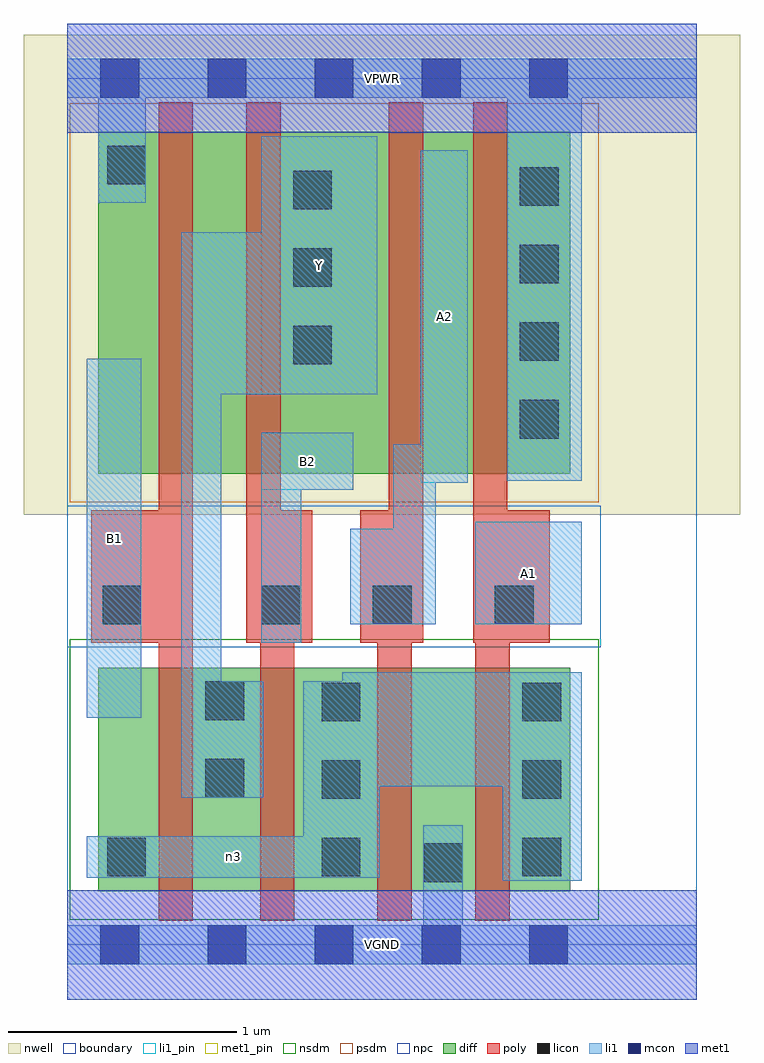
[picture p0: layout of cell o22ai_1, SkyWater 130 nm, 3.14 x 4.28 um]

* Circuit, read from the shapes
.subckt o22ai_1 A1 A2 B1 B2 VGND VPWR Y n3
XM1 Y B1 n3 VSUBS sky130_fd_pr__nfet_01v8 w=0.98 l=0.15
XM2 n3 B2 Y VSUBS sky130_fd_pr__nfet_01v8 w=0.98 l=0.15
XM3 VGND A2 n3 VSUBS sky130_fd_pr__nfet_01v8 w=0.98 l=0.15
XM4 n3 A1 VGND VSUBS sky130_fd_pr__nfet_01v8 w=0.98 l=0.15
XM5 n1 B1 VPWR n2 sky130_fd_pr__pfet_01v8 w=1.5 l=0.15
XM6 Y B2 n1 n2 sky130_fd_pr__pfet_01v8 w=1.5 l=0.15
XM7 n4 A2 Y n2 sky130_fd_pr__pfet_01v8 w=1.5 l=0.15
XM8 VPWR A1 n4 n2 sky130_fd_pr__pfet_01v8 w=1.5 l=0.15
.ends

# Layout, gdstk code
import gdstk
lib = gdstk.Library(unit=1e-6, precision=1e-09)
def R(c, l, rs):  # rectangles x0, y0, x1, y1
    for r in rs: c.add(gdstk.rectangle(r[:2], r[2:], *l))
def A(c, l, x, y, w, h, nx, ny, dx, dy):  # array of equal rectangles
    R(c, l, [(x+i*dx, y+j*dy, x+i*dx+w, y+j*dy+h) for i in range(nx) for j in range(ny)])
nwell = (64, 20)
diff = (65, 20)
poly = (66, 20)
licon = (66, 44)
li1_pin = (67, 16)
li1 = (67, 20)
mcon = (67, 44)
met1_pin = (68, 16)
met1 = (68, 20)
nsdm = (93, 44)
psdm = (94, 20)
npc = (95, 20)
boundary = (235, 4)

o22ai_1 = lib.new_cell('o22ai_1')
R(o22ai_1, nwell, [(-0.19,1.885,2.95,3.99), (0,1.885,2.76,3.99)])
R(o22ai_1, diff, [(0.135,0.235,2.205,1.215), (0.135,2.065,2.205,3.565)])
R(o22ai_1, poly, [(0.4,0.105,0.55,3.695), (0.845,0.105,0.995,1.905), (1.36,0.105,1.51,1.905), (1.79,0.105,1.94,1.905), (0.105,1.325,0.55,1.905), (0.785,1.325,0.935,3.695), (0.785,1.325,1.075,1.905), (1.285,1.325,1.56,1.905), (1.41,1.325,1.56,3.695), (1.78,1.325,1.93,3.695), (1.78,1.325,2.115,1.905)])
A(o22ai_1, licon, 1.115, 0.3, 0.17, 0.17, 1, 3, 0, 0.34)
A(o22ai_1, licon, 1.995, 0.3, 0.17, 0.17, 1, 3, 0, 0.34)
A(o22ai_1, licon, 1.985, 2.22, 0.17, 0.17, 1, 4, 0, 0.34)
A(o22ai_1, licon, 0.99, 2.545, 0.17, 0.17, 1, 3, 0, 0.34)
R(o22ai_1, licon, [(1.565,0.275,1.735,0.445), (0.175,0.3,0.345,0.47), (0.605,0.645,0.775,0.815), (0.605,0.985,0.775,1.155), (0.155,1.405,0.325,1.575), (0.85,1.405,1.02,1.575), (1.34,1.405,1.51,1.575), (1.875,1.405,2.045,1.575), (0.175,3.335,0.345,3.505)])
R(o22ai_1, li1_pin, [(0.085,0.995,0.325,2.57), (1.79,1.405,2.255,1.855), (0.85,1.995,1.255,2.245), (1.55,2.025,1.755,3.485), (0.85,2.415,1.36,3.545)])
R(o22ai_1, li1, [(0,-0.085,2.76,0.085), (1.56,-0.085,1.735,0.525), (1.91,0.28,2.255,1.195), (0.085,0.295,1.37,0.475), (1.035,0.295,1.37,1.155), (0.5,0.645,0.675,3.125), (0.5,0.645,0.86,1.155), (1.205,0.695,2.255,1.195), (0.085,0.995,0.325,2.57), (0.85,1.325,1.025,2.245), (1.24,1.405,1.615,1.825), (1.43,1.405,1.615,2.195), (1.79,1.405,2.255,1.855), (0.85,1.995,1.255,2.245), (1.55,2.025,1.755,3.485), (1.93,2.035,2.255,3.885), (0.5,2.415,1.36,3.125), (0.85,2.415,1.36,3.545), (0.135,3.255,0.345,3.885), (0,3.715,2.76,3.885)])
A(o22ai_1, mcon, 0.145, -0.085, 0.17, 0.17, 5, 2, 0.47, 3.8)
R(o22ai_1, met1_pin, [(0,-0.24,2.76,0.24), (0,3.56,2.76,4.04)])
R(o22ai_1, met1, [(0,-0.24,2.76,0.24), (0,3.56,2.76,4.04)])
R(o22ai_1, nsdm, [(0.01,0.11,2.33,1.34)])
R(o22ai_1, psdm, [(0.01,1.94,2.33,3.69)])
R(o22ai_1, npc, [(0,1.305,2.34,1.925)])
R(o22ai_1, boundary, [(0,0,2.76,3.8)])
o22ai_1.add(gdstk.Label('A1', (2.022,1.63), layer=67, texttype=5))
o22ai_1.add(gdstk.Label('A2', (1.652,2.755), layer=67, texttype=5))
o22ai_1.add(gdstk.Label('B1', (0.205,1.782), layer=67, texttype=5))
o22ai_1.add(gdstk.Label('B2', (1.052,2.12), layer=67, texttype=5))
o22ai_1.add(gdstk.Label('Y', (1.105,2.98), layer=67, texttype=5))
o22ai_1.add(gdstk.Label('n3', (0.727,0.385), layer=67, texttype=5))
o22ai_1.add(gdstk.Label('VPWR', (1.38,3.8), layer=68, texttype=5))
o22ai_1.add(gdstk.Label('VGND', (1.38,0), layer=68, texttype=5))
o22ai_1.add(gdstk.Label('A1', (2.022,1.63), layer=67, texttype=16))
o22ai_1.add(gdstk.Label('A2', (1.652,2.755), layer=67, texttype=16))
o22ai_1.add(gdstk.Label('B1', (0.205,1.782), layer=67, texttype=16))
o22ai_1.add(gdstk.Label('B2', (1.052,2.12), layer=67, texttype=16))
o22ai_1.add(gdstk.Label('Y', (1.105,2.98), layer=67, texttype=16))
o22ai_1.add(gdstk.Label('VPWR', (1.38,3.8), layer=68, texttype=16))
o22ai_1.add(gdstk.Label('VGND', (1.38,0), layer=68, texttype=16))

lib.write_gds('o22ai_1.gds')
